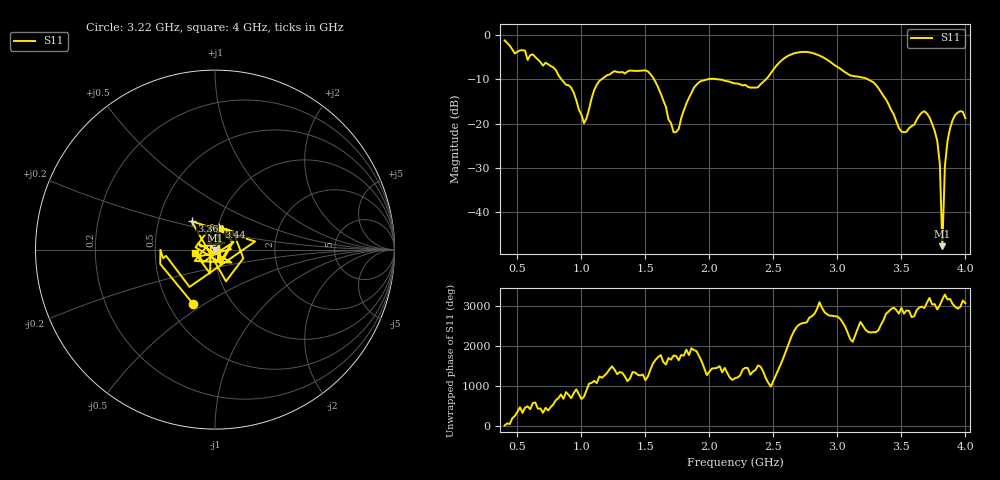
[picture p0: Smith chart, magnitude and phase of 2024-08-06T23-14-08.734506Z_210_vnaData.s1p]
!Created with skrf (http://scikit-rf.org).
# Hz S RI R 50.0
!freq ReS11 ImS11
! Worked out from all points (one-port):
!   181 points, 400 MHz to 4 GHz, reference 50 ohm
!   lowest |S11| = -47.8 dB at 3.82 GHz (marker M1), VSWR 1.01, Z = 50.1 - j0.398 ohm
!   |S11| at or under -10 dB: 1.567 GHz to 1.986 GHz (419.1 MHz wide, 23.6 % of centre); 2.07 GHz to 2.442 GHz (371.6 MHz wide, 16.5 % of centre); 3.238 GHz to end of sweep (the widest 3 of 4)
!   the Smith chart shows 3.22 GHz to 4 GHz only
!   S11 on the Smith chart (normalised r, x): 3.22 GHz: 0.66, -0.45; 3.36 GHz: 0.74, +0.24; 3.44 GHz: 1.01, +0.26; 4 GHz: 0.80, -0.03
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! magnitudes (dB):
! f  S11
! 400 MHz  -1.2
! 860 MHz  -10.6
! 940 MHz  -13.0
! 1.02 GHz  -19.9
! 1.14 GHz  -10.4
! 1.3 GHz  -8.4
! 1.52 GHz  -8.2
! 1.6 GHz  -11.8
! 1.72 GHz  -22.0
! 1.76 GHz  -21.2
! 1.92 GHz  -10.6
! 2.2 GHz  -10.9
! 2.38 GHz  -11.8
! 2.66 GHz  -4.1
! 3.1 GHz  -9.1
! 3.22 GHz  -9.7
! 3.36 GHz  -13.8
! 3.44 GHz  -17.9
! 3.5 GHz  -21.8
! 3.56 GHz  -21.0
! 3.68 GHz  -17.2
! 3.76 GHz  -21.7
! 3.8 GHz  -29.0
! 3.82 GHz  -47.8
! 3.84 GHz  -29.6
! 3.86 GHz  -24.0
! 3.92 GHz  -18.1
! 4 GHz  -18.8
